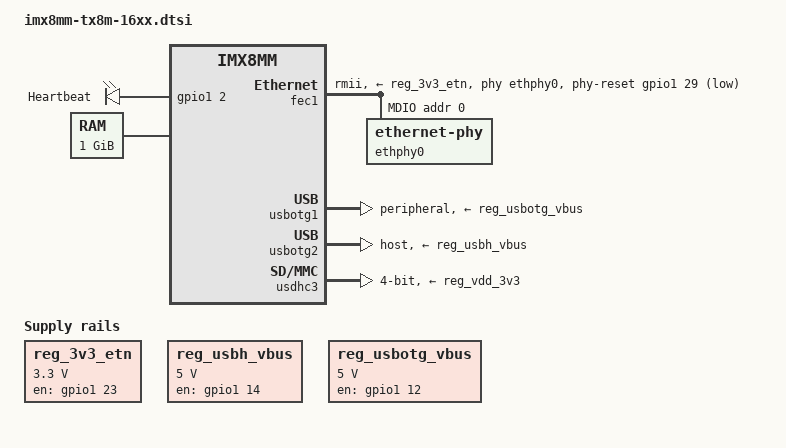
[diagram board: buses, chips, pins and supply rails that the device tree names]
// SPDX-License-Identifier: (GPL-2.0 OR MIT)
/*
 * Copyright (C) 2020 Lothar Waßmann <LW@KARO-electronics.de>
 *
 */

#include "imx8mm-karo.dtsi"
#include "imx8m-karo-pmic-bd71847.dtsi"

/ {
	compatible = "karo,imx8mm-tx8m", "fsl,imx8mm";

	leds {
		compatible = "gpio-leds";

		led {
			label = "Heartbeat";
			pinctrl-names = "default";
			pinctrl-0 = <&pinctrl_led>;
			gpios = <&gpio1 2 GPIO_ACTIVE_HIGH>;
			linux,default-trigger = "heartbeat";
		};
	};

	memory@40000000 {
		device_type = "memory";
		reg = <0x0 0x40000000 0 0x40000000>;
	};

	reg_3v3_etn: regulator-3v3-etn {
		compatible = "regulator-fixed";
		regulator-name = "3v3_etn";
		regulator-min-microvolt = <3300000>;
		regulator-max-microvolt = <3300000>;
		pinctrl-names = "default";
		pinctrl-0 = <&pinctrl_etnphy_power>;
		gpio = <&gpio1 23 GPIO_ACTIVE_HIGH>;
		enable-active-high;
		power-supply = <&reg_vdd_3v3>;
	};

	reg_usbh_vbus: regulator-usbh-vbus {
		compatible = "regulator-fixed";
		pinctrl-names = "default";
		pinctrl-0 = <&pinctrl_usbh_vbus>;
		regulator-name = "usbh-vbus";
		regulator-min-microvolt = <5000000>;
		regulator-max-microvolt = <5000000>;
		gpio = <&gpio1 14 GPIO_ACTIVE_HIGH>;
		enable-active-high;
	};

	reg_usbotg_vbus: regulator-usbotg-vbus {
		compatible = "regulator-fixed";
		pinctrl-names = "default";
		pinctrl-0 = <&pinctrl_usbotg_vbus>;
		regulator-name = "usbotg-vbus";
		regulator-min-microvolt = <5000000>;
		regulator-max-microvolt = <5000000>;
		gpio = <&gpio1 12 GPIO_ACTIVE_HIGH>;
		enable-active-high;
	};

	usbg2: usbg2 {
		compatible = "fsl,imx27-usb-gadget";
		chipidea,usb = <&usbotg2>;
		dr_mode = "host";
		status = "okay";
	};
};

&A53_0 {
	cpu-supply = <&reg_vdd_arm>;
};

&fec1 {
	pinctrl-names = "default";
	pinctrl-0 = <&pinctrl_fec1 &pinctrl_etnphy_rst>;
	assigned-clock-parents = <
		&clk IMX8MM_SYS_PLL1_266M
		&clk IMX8MM_SYS_PLL2_100M
		&clk IMX8MM_SYS_PLL2_50M
		&clk IMX8MM_SYS_PLL2_50M
	>;
	assigned-clock-rates = <0>, <100000000>, <50000000>, <50000000>;
	phy-mode = "rmii";
	phy-handle = <&ethphy0>;
	phy-supply = <&reg_3v3_etn>;
	phy-reset-gpios = <&gpio1 29 GPIO_ACTIVE_LOW>;
	phy-reset-duration = <25>; /* ms */
	phy-reset-post-delay = <100>;
	status = "okay";

	mdio {
		#address-cells = <1>;
		#size-cells = <0>;

		ethphy0: ethernet-phy@0 {
			reg = <0>;
			smsc,disable-energy-detect;
		};
	};
};

&usbotg1 {
	dr_mode = "peripheral";
	vbus-supply = <&reg_usbotg_vbus>;
};

&usbotg2 {
	dr_mode = "host";
	vbus-supply = <&reg_usbh_vbus>;
	status = "okay";
};

&usdhc3 {
	pinctrl-names = "default";
	pinctrl-0 = <&pinctrl_usdhc3>;
	bus-width = <4>;
	vmmc-supply = <&reg_vdd_3v3>;
	vqmmc-supply = <&reg_vdd_3v3>;
	no-1-8-v;
	fsl,wp-controller;
	status = "okay";
};

&iomuxc {
	pinctrl_etnphy_power: etnphy-powergrp {
		fsl,pins = <
			MX8MM_IOMUXC_ENET_TXC_GPIO1_IO23		0x142
		>;
	};

	pinctrl_etnphy_rst: etnphy-rstgrp {
		fsl,pins = <
			MX8MM_IOMUXC_ENET_RD3_GPIO1_IO29		0x140
		>;
	};

	pinctrl_fec1: fec1grp {
		fsl,pins = <
			MX8MM_IOMUXC_ENET_MDC_ENET1_MDC			0x142
			MX8MM_IOMUXC_ENET_MDIO_ENET1_MDIO		0x142
			MX8MM_IOMUXC_ENET_TD2_ENET1_TX_CLK		0x40000016
			MX8MM_IOMUXC_ENET_TD0_ENET1_RGMII_TD0		0x16
			MX8MM_IOMUXC_ENET_TD1_ENET1_RGMII_TD1		0x16
			MX8MM_IOMUXC_ENET_TX_CTL_ENET1_RGMII_TX_CTL	0x16
			/* SMSC LAN8710 Strap pins */
			MX8MM_IOMUXC_ENET_RD0_ENET1_RGMII_RD0		0x150 /* MODE0 */
			MX8MM_IOMUXC_ENET_RD1_ENET1_RGMII_RD1		0x150 /* MODE1 */
			MX8MM_IOMUXC_ENET_RXC_ENET1_RX_ER		0x116 /* PHYAD0 */
			MX8MM_IOMUXC_ENET_RX_CTL_ENET1_RGMII_RX_CTL	0x156 /* MODE2 */
		>;
	};

	pinctrl_usbh_vbus: usbh-vbusgrp {
		fsl,pins = <
			MX8MM_IOMUXC_GPIO1_IO14_GPIO1_IO14		0x06
		>;
	};

	pinctrl_usbotg_vbus: usbotg-vbusgrp {
		fsl,pins = <
			MX8MM_IOMUXC_GPIO1_IO12_GPIO1_IO12		0x06
		>;
	};

	pinctrl_usdhc3: usdhc3grp {
		fsl,pins = <
			/*
			 * Erratum e11341: SION must be asserted on NAND_WE_B
			 * when used as SDHC3_CLK
			 */
			MX8MM_IOMUXC_NAND_WE_B_USDHC3_CLK		0x40000110
			MX8MM_IOMUXC_NAND_WP_B_USDHC3_CMD		0x150
			MX8MM_IOMUXC_NAND_DATA04_USDHC3_DATA0		0x150
			MX8MM_IOMUXC_NAND_DATA05_USDHC3_DATA1		0x150
			MX8MM_IOMUXC_NAND_DATA06_USDHC3_DATA2		0x150
			MX8MM_IOMUXC_NAND_DATA07_USDHC3_DATA3		0x150
		>;
	};

	pinctrl_usdhc3_cd: usdhc3-cdgrp {
		fsl,pins = <
			MX8MM_IOMUXC_NAND_DATA02_GPIO3_IO8		0x1c0
		>;
	};
};
